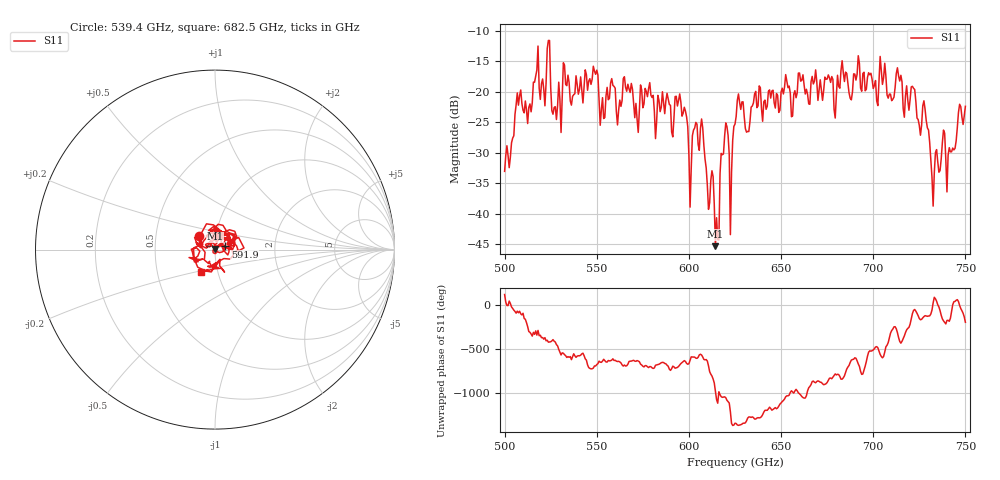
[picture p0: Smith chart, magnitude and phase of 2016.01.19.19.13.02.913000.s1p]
!Created with skrf (http://scikit-rf.org).
# GHz S RI R 50.0
!freq ReS11 ImS11
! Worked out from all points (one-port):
!   401 points, 500 GHz to 750 GHz, reference 50 ohm
!   lowest |S11| = -45.3 dB at 614.4 GHz (marker M1), VSWR 1.01, Z = 49.9 + j0.538 ohm
!   |S11| at or under -10 dB: start of sweep to end of sweep
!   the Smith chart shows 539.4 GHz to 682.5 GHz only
!   S11 on the Smith chart (normalised r, x): 539.4 GHz: 0.83, +0.13; 591.9 GHz: 1.12, +0.04; 682.5 GHz: 0.83, -0.21
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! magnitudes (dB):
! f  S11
! 500 GHz  -33.0
! 516.9 GHz  -17.5
! 520.6 GHz  -17.9
! 523.8 GHz  -11.6
! 526.9 GHz  -22.6
! 531.2 GHz  -21.2
! 539.4 GHz  -18.8
! 562.5 GHz  -21.4
! 565.6 GHz  -19.3
! 571.9 GHz  -24.5
! 577.5 GHz  -20.8
! 591.9 GHz  -24.3
! 593.8 GHz  -22.3
! 600.6 GHz  -38.9
! 607.5 GHz  -25.9
! 614.4 GHz  -45.3
! 615.6 GHz  -44.2
! 618.8 GHz  -30.2
! 623.1 GHz  -33.2
! 625 GHz  -25.3
! 656.2 GHz  -24.0
! 682.5 GHz  -16.5
! 687.5 GHz  -21.1
! 705 GHz  -18.8
! 718.8 GHz  -21.4
! 728.1 GHz  -22.9
! 732.5 GHz  -38.7
! 750 GHz  -22.4
